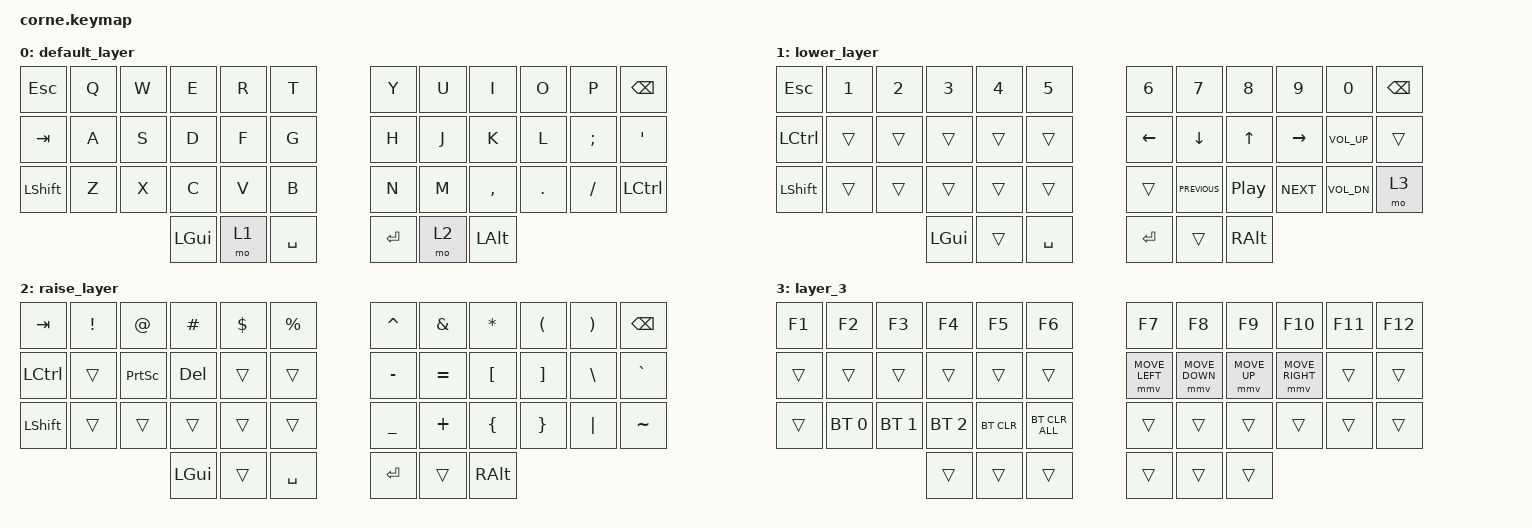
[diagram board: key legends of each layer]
/*
 * Copyright (c) 2020 The ZMK Contributors
 *
 * SPDX-License-Identifier: MIT
 */

#include <behaviors.dtsi>
#include <dt-bindings/zmk/bt.h>
#include <dt-bindings/zmk/keys.h>
#include <dt-bindings/zmk/pointing.h>

/ {
    keymap {
        compatible = "zmk,keymap";

        default_layer {
            // -----------------------------------------------------------------------------------------
            // |  TAB |  Q  |  W  |  E  |  R  |  T  |   |  Y  |  U   |  I  |  O  |  P  | BKSP |
            // | CTRL |  A  |  S  |  D  |  F  |  G  |   |  H  |  J   |  K  |  L  |  ;  |  '   |
            // | SHFT |  Z  |  X  |  C  |  V  |  B  |   |  N  |  M   |  ,  |  .  |  /  | ESC  |
            //                    | GUI | LWR | SPC |   | ENT | RSE  | ALT |

            bindings = <
&kp ESC    &kp Q  &kp W  &kp E     &kp R  &kp T        &kp Y    &kp U  &kp I         &kp O    &kp P     &kp BSPC
&kp TAB    &kp A  &kp S  &kp D     &kp F  &kp G        &kp H    &kp J  &kp K         &kp L    &kp SEMI  &kp SQT
&kp LSHFT  &kp Z  &kp X  &kp C     &kp V  &kp B        &kp N    &kp M  &kp COMMA     &kp DOT  &kp FSLH  &kp LEFT_CONTROL
                         &kp LGUI  &mo 1  &kp SPACE    &kp RET  &mo 2  &kp LEFT_ALT
            >;
        };

        lower_layer {
            // -----------------------------------------------------------------------------------------
            // |  TAB |  1  |  2  |  3  |  4  |  5  |   |  6  |  7  |  8  |  9  |  0  | BKSP |
            // | BTCLR| BT1 | BT2 | BT3 | BT4 | BT5 |   | LFT | DWN |  UP | RGT |     |      |
            // | SHFT |     |     |     |     |     |   |     |     |     |     |     |      |
            //                    | GUI |     | SPC |   | ENT |     | ALT |

            bindings = <
&kp ESCAPE        &kp N1  &kp N2  &kp N3    &kp N4  &kp N5       &kp N6    &kp N7          &kp N8            &kp N9      &kp N0        &kp BSPC
&kp LEFT_CONTROL  &trans  &trans  &trans    &trans  &trans       &kp LEFT  &kp DOWN        &kp UP            &kp RIGHT   &kp C_VOL_UP  &trans
&kp LSHFT         &trans  &trans  &trans    &trans  &trans       &trans    &kp C_PREVIOUS  &kp C_PLAY_PAUSE  &kp C_NEXT  &kp C_VOL_DN  &mo 3
                                  &kp LGUI  &trans  &kp SPACE    &kp RET   &trans          &kp RALT
            >;
        };

        raise_layer {
            // -----------------------------------------------------------------------------------------
            // |  TAB |  !  |  @  |  #  |  $  |  %  |   |  ^  |  &  |  *  |  (  |  )  | BKSP |
            // | CTRL |     |     |     |     |     |   |  -  |  =  |  [  |  ]  |  \  |  `   |
            // | SHFT |     |     |     |     |     |   |  _  |  +  |  {  |  }  | "|" |  ~   |
            //                    | GUI |     | SPC |   | ENT |     | ALT |

            bindings = <
&kp TAB    &kp EXCL  &kp AT           &kp HASH    &kp DLLR  &kp PRCNT    &kp CARET  &kp AMPS   &kp ASTRK  &kp LPAR  &kp RPAR  &kp BACKSPACE
&kp LCTRL  &trans    &kp PRINTSCREEN  &kp DELETE  &trans    &trans       &kp MINUS  &kp EQUAL  &kp LBKT   &kp RBKT  &kp BSLH  &kp GRAVE
&kp LSHFT  &trans    &trans           &trans      &trans    &trans       &kp UNDER  &kp PLUS   &kp LBRC   &kp RBRC  &kp PIPE  &kp TILDE
                                      &kp LGUI    &trans    &kp SPACE    &kp RET    &trans     &kp RALT
            >;
        };

        layer_3 {
            bindings = <
&kp F1  &kp F2        &kp F3        &kp F4        &kp F5      &kp F6            &kp F7          &kp F8          &kp F9        &kp F10          &kp F11  &kp F12
&trans  &trans        &trans        &trans        &trans      &trans            &mmv MOVE_LEFT  &mmv MOVE_DOWN  &mmv MOVE_UP  &mmv MOVE_RIGHT  &trans   &trans
&trans  &bt BT_SEL 0  &bt BT_SEL 1  &bt BT_SEL 2  &bt BT_CLR  &bt BT_CLR_ALL    &trans          &trans          &trans        &trans           &trans   &trans
                                    &trans        &trans      &trans            &trans          &trans          &trans
            >;
        };
    };
};
